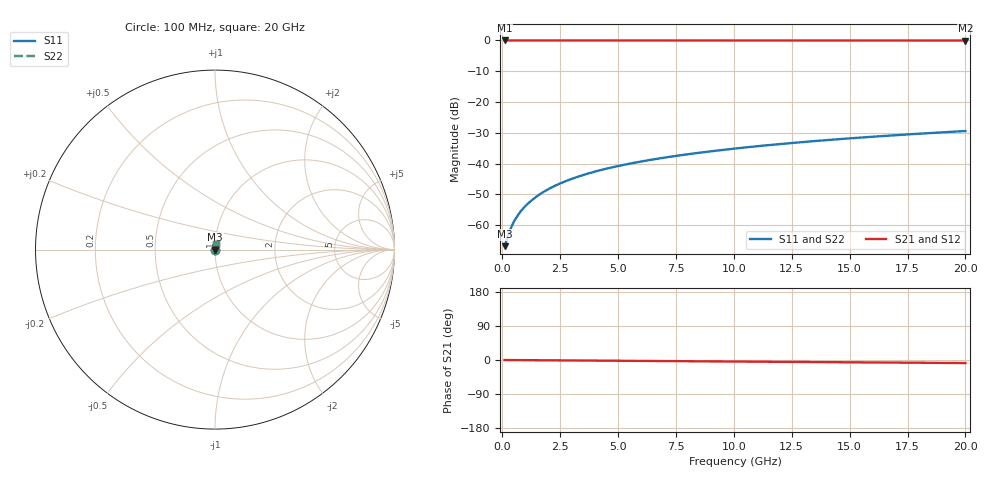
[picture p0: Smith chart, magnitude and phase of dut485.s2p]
! Touchstone file exported from HFSS 2026.1.0
!  File:  C:/ffzhzh/LocalFiles/Ansys_Project_Files/temp_train_TSV_485_1783022668_53980.aedt
!  Generated:  04:07:02 AM Jul  3, 2026
!  Design:  TSV
!  Project:  temp_train_TSV_485_1783022668_53980
! Variables:
!  h_bsmrdl = 2um
!  h_ox = 20um
!  h_rdl = 5um
!  h_sub = 81.34um
!  h_tmrdl = 5um
!  h_tsv = 81.34um
!  h_via = 3um
!  l_bsmrdl = 300um
!  l_sub = 410.06um
!  l_tmrdl = 200um
!  m_sub = 200um
!  pitch = 28.51um
!  r_tsv = 5.03um
!  s_tmrdl = 10um
!  w_bsmrdl = 18um
!  w_sub = 500um
!  w_tmrdl = 12um
!  x_tsv_center1 = 206um
!  x_tsv_center2 = 524um
!  x_tsv_center3 = 736um
!  x_tsv_center4 = 1054um
!  x_tsv_center5 = 1266um
!  x_tsv_center6 = 1584um
# GHz S MA R 50.000000
! Terminal data exported
! Port[1] = TSV1_1_T1
! Port[2] = TSV1_1_T2
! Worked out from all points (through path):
!   200 points, 100 MHz to 20 GHz, reference 50 ohm
!   highest |S21| = 0.00 dB at 100 MHz (marker M1); lowest = 0.0 dB at 20 GHz (marker M2)
!   group delay of S21, straight-line fit = 1.12 ps
!   lowest |S11| = -66.8 dB at 100 MHz (marker M3), VSWR 1.00, Z = 50 + j0.0217 ohm
!   |S11| at or under -10 dB: start of sweep to end of sweep
!   |S22| runs from -66.8 to -29.4 dB; largest |S21 - S12| = 5.4e-15
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0.1  0.0004572 28.3  0.9996 -0.0  0.9996 -0.0  0.0004572 28.3
! Gamma 0 0 0 0
! Port Impedance 50 0 50 0
0.3  0.0007709 55.7  0.9996 -0.1  0.9996 -0.1  0.0007709 55.7
0.4  0.0009531 61.4  0.9995 -0.2  0.9995 -0.2  0.0009531 61.4
0.5  0.001137 65.2  0.9995 -0.2  0.9995 -0.2  0.001137 65.2
0.6  0.001321 67.8  0.9995 -0.3  0.9995 -0.3  0.001321 67.8
0.8  0.001686 71.4  0.9995 -0.3  0.9995 -0.3  0.001686 71.4
1  0.00205 73.8  0.9994 -0.4  0.9994 -0.4  0.00205 73.8
1.2  0.002414 75.5  0.9994 -0.5  0.9994 -0.5  0.002414 75.5
1.4  0.002778 76.8  0.9994 -0.6  0.9994 -0.6  0.002778 76.8
1.7  0.003325 78.1  0.9993 -0.7  0.9993 -0.7  0.003325 78.1
2.2  0.004232 79.4  0.9993 -0.9  0.9993 -0.9  0.004232 79.4
2.8  0.005311 80.2  0.9992 -1.2  0.9992 -1.2  0.005311 80.2
3.5  0.006551 80.7  0.9991 -1.4  0.9991 -1.4  0.006551 80.7
4.2  0.007771 80.9  0.999 -1.7  0.999 -1.7  0.007771 80.9
5  0.009145 81.0  0.9989 -2.0  0.9989 -2.0  0.009145 81.0
5.9  0.01067 81.0  0.9987 -2.4  0.9987 -2.4  0.01067 81.0
6.8  0.01218 81.0  0.9986 -2.8  0.9986 -2.8  0.01218 81.0
8.3  0.01468 80.9  0.9984 -3.4  0.9984 -3.4  0.01468 80.9
10.1  0.01767 80.7  0.9982 -4.1  0.9982 -4.1  0.01767 80.7
13.4  0.0231 80.1  0.9979 -5.4  0.9979 -5.4  0.0231 80.0
16.7  0.02849 79.2  0.9976 -6.7  0.9976 -6.7  0.02849 79.2
20  0.03383 78.1  0.9972 -8.1  0.9972 -8.1  0.03383 78.1
